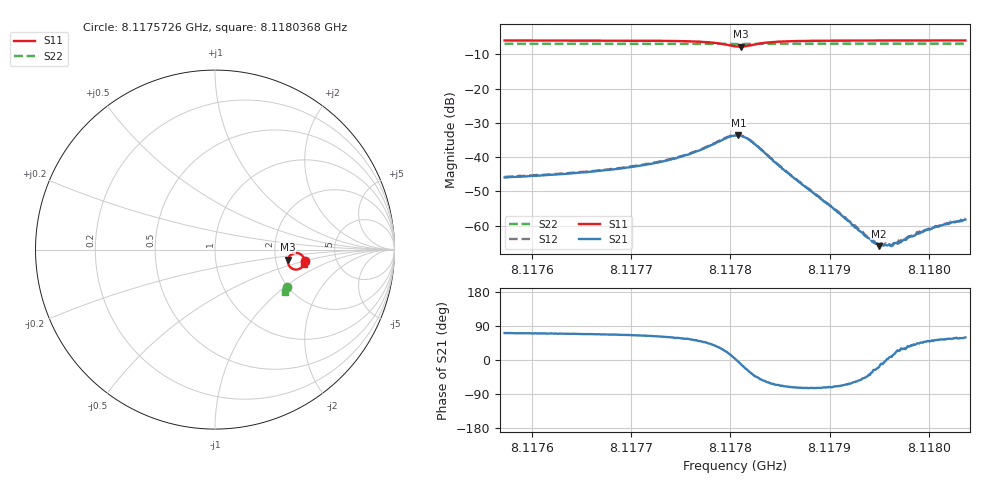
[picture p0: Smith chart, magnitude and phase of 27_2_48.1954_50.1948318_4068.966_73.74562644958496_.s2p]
#  HZ  S  RI  R  50.00
! Rohde & Schwarz Vector Network Analyzer
! Rohde-Schwarz,ZNB20-2Port,1311601062101988,3.16
! Created: UTC 3/20/2024, 11:37:12 AM
! freq[Hz]  re:S11  im:S11  re:S21  im:S21  re:S12  im:S12  re:S22  im:S22
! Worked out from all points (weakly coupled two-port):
!   401 points, 8.1175726 GHz to 8.1180368 GHz, reference 50 ohm
!   highest |S21| = -33.66 dB at 8.1178082 GHz (marker M1); lowest = -65.9 dB at 8.1179498 GHz (marker M2)
!   lowest |S11| = -7.7 dB at 8.1178105 GHz (marker M3), VSWR 2.39, Z = 117 - j15.6 ohm
!   |S11| at or under -10 dB: nowhere
!   |S22| runs from -7.0 to -6.9 dB; largest |S21 - S12| = 0.00067
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8.11757259e9  0.5007 -0.0647  0.00163 0.00481  0.00173 0.00487  0.4024 -0.2067
8.11765035e9  0.4981 -0.0744  0.00219 0.00558  0.0023 0.00566  0.3999 -0.2118
8.11769097e9  0.4956 -0.0814  0.00277 0.00631  0.00289 0.0064  0.3985 -0.2144
8.1177281e9  0.4907 -0.0904  0.00392 0.00748  0.00409 0.0076  0.3972 -0.217
8.11775944e9  0.4795 -0.1021  0.00642 0.00908  0.00677 0.00926  0.3956 -0.2192
8.11778961e9  0.4411 -0.11  0.0146 0.00901  0.0152 0.00901  0.3928 -0.2209
8.1178047e9  0.4077 -0.079  0.0207 0.00119  0.021 0.000962  0.3913 -0.2201
8.11780818e9  0.4055 -0.065  0.0207 -0.00172  0.021 -0.00215  0.3915 -0.2196
8.1178105e9  0.4064 -0.0554  0.0202 -0.0038  0.0205 -0.00411  0.3915 -0.2193
8.11781746e9  0.4202 -0.0312  0.0165 -0.00842  0.0165 -0.00892  0.3922 -0.2189
8.11782443e9  0.4411 -0.02  0.0116 -0.0103  0.0117 -0.0106  0.3928 -0.2191
8.1178546e9  0.4877 -0.0355  0.00226 -0.00599  0.00226 -0.00611  0.3938 -0.2221
8.11788245e9  0.4961 -0.0508  0.00087 -0.00298  0.000843 -0.00304  0.3932 -0.2245
8.11790915e9  0.4983 -0.0595  0.000546 -0.00143  0.000573 -0.0015  0.3923 -0.2266
8.11793816e9  0.4991 -0.0663  0.000489 -0.000461  0.000523 -0.000432  0.3914 -0.2285
8.11794396e9  0.499 -0.0674  0.000509 -0.000262  0.000527 -0.000323  0.3911 -0.2288
8.11794976e9  0.499 -0.0686  0.000482 -0.000164  0.000514 -0.000174  0.3909 -0.2294
8.11796021e9  0.499 -0.0705  0.000521 6.49e-05  0.000536 7.23e-05  0.3907 -0.23
8.11797065e9  0.4991 -0.072  0.000529 0.000243  0.000528 0.000252  0.3904 -0.2308
8.11799735e9  0.4988 -0.0758  0.000581 0.000652  0.000574 0.000655  0.3895 -0.2324
8.11801591e9  0.4986 -0.0782  0.000604 0.000859  0.000617 0.000874  0.3888 -0.2336
8.1180368e9  0.4983 -0.0807  0.000619 0.00106  0.000668 0.00108  0.388 -0.2347
